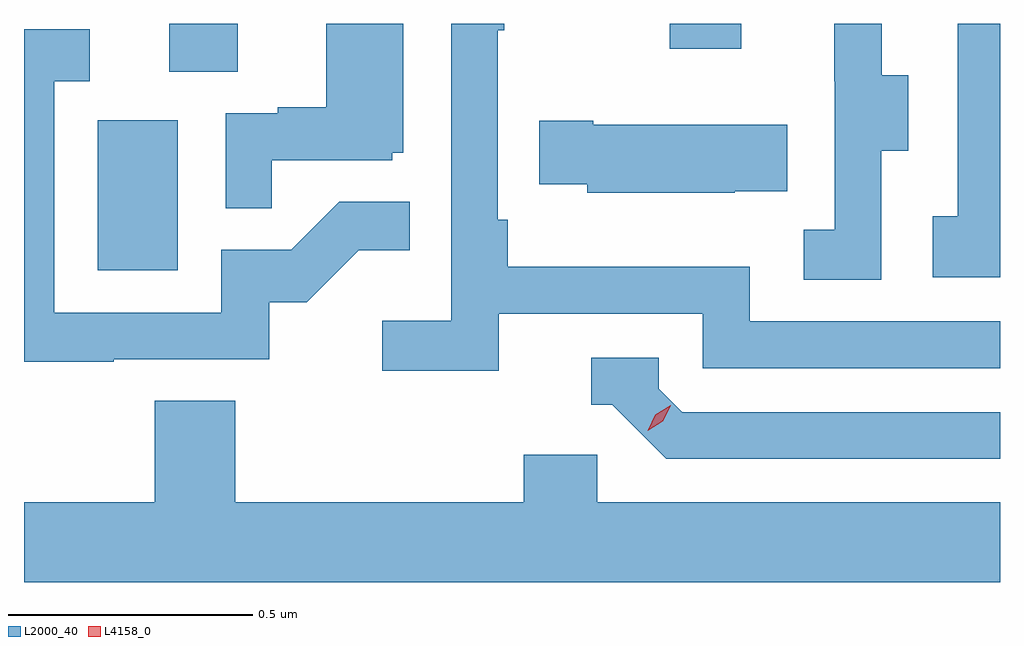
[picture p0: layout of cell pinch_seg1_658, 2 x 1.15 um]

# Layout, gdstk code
import gdstk
lib = gdstk.Library(unit=1e-6, precision=1e-09)
def R(c, l, rs):  # rectangles x0, y0, x1, y1
    for r in rs: c.add(gdstk.rectangle(r[:2], r[2:], *l))
def P(c, l, *ps):  # polygons
    for p in ps: c.add(gdstk.Polygon(p, *l))
L2000_40 = (2000, 40)
L4158_0 = (4158, 0)

pinch_seg1_658 = lib.new_cell('pinch_seg1_658')
R(pinch_seg1_658, L2000_40, [(1102.16,509.748,1102.324,510.055), (1102.307,510.154,1102.447,510.253), (1103.332,510.201,1103.479,510.253)])
P(pinch_seg1_658, L2000_40, [(1103.766,509.992),(1103.821,509.992),(1103.821,510.147),(1103.767,510.147),(1103.767,510.253),(1103.669,510.253),(1103.669,510.135),(1103.67,510.135),(1103.67,509.831),(1103.607,509.831),(1103.607,509.728),(1103.766,509.728)],
  [(1102.982,509.658),(1103.4,509.658),(1103.4,509.547),(1104.009,509.547),(1104.009,509.643),(1103.496,509.643),(1103.496,509.755),(1103,509.755),(1103,509.851),(1102.98,509.851),(1102.98,510.239),(1102.993,510.239),(1102.993,510.253),(1102.884,510.253),(1102.884,509.644),(1102.743,509.644),(1102.743,509.542),(1102.982,509.542)],
  [(1102.517,509.973),(1102.764,509.973),(1102.764,509.988),(1102.786,509.988),(1102.786,510.253),(1102.628,510.253),(1102.628,510.082),(1102.529,510.082),(1102.529,510.069),(1102.422,510.069),(1102.422,509.875),(1102.517,509.875)],
  [(1104.009,510.253),(1103.922,510.253),(1103.922,509.858),(1103.871,509.858),(1103.871,509.733),(1104.009,509.733)],
  [(1102.193,509.565),(1102.512,509.565),(1102.512,509.682),(1102.588,509.682),(1102.695,509.789),(1102.799,509.789),(1102.799,509.888),(1102.655,509.888),(1102.557,509.79),(1102.413,509.79),(1102.413,509.661),(1102.071,509.661),(1102.071,510.135),(1102.144,510.135),(1102.144,510.241),(1102.009,510.241),(1102.009,509.56),(1102.193,509.56)],
  [(1103.465,509.909),(1103.573,509.909),(1103.573,510.046),(1103.176,510.046),(1103.176,510.054),(1103.065,510.054),(1103.065,509.924),(1103.163,509.924),(1103.163,509.906),(1103.465,509.906)],
  [(1104.009,509.457),(1103.358,509.457),(1103.31,509.505),(1103.31,509.568),(1103.171,509.568),(1103.171,509.472),(1103.214,509.472),(1103.325,509.361),(1104.009,509.361)],
  [(1104.009,509.272),(1103.184,509.272),(1103.184,509.37),(1103.033,509.37),(1103.033,509.272),(1102.442,509.272),(1102.442,509.48),(1102.277,509.48),(1102.277,509.272),(1102.009,509.272),(1102.009,509.108),(1104.009,509.108)])
P(pinch_seg1_658, L4158_0, [(1103.287,509.419),(1103.287,509.419),(1103.303,509.451),(1103.334,509.471),(1103.334,509.471),(1103.334,509.47),(1103.318,509.438),(1103.287,509.419)])

lib.write_gds('pinch_seg1_658.gds')
